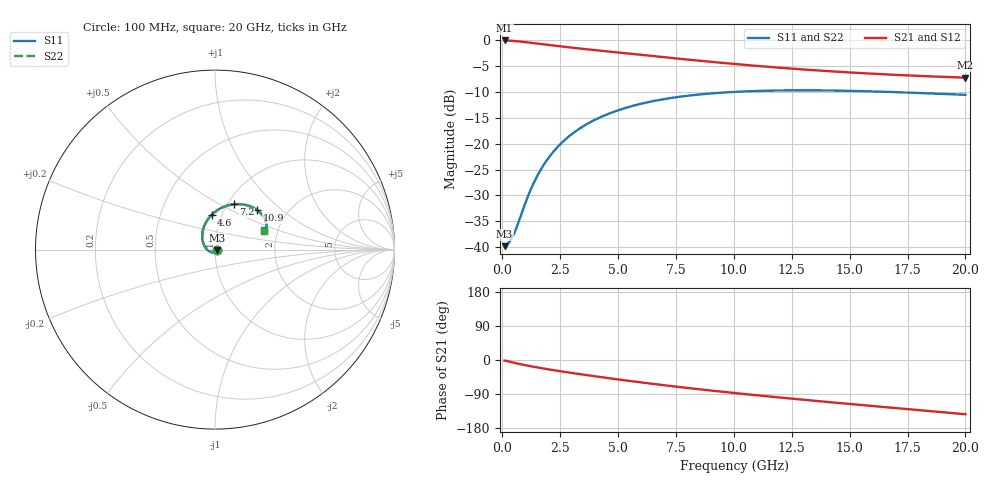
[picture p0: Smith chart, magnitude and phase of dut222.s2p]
! Touchstone file exported from HFSS 2023.1.0
!  File:  D:/Users/fzz/RDL_TSV/temp_RDL_TSV_222_1778757972.aedt
!  Generated:  7:33:48 %x4E0B%x5348  5%x6708 14, 2026
!  Design:  RDL_TSV
!  Project:  temp_RDL_TSV_222_1778757972
!  Setup:  Setup1
!  Solution:  Sweep
! Variables:
!  dtsv = 16.4um
!  hbump = 3um
!  htsv = 54.21um
!  ldown = 445.82um
!  lrdl = 161.44um
!  p = 40
!  p1 = 56.1um
!  rhole = 10um
!  subl = 1983.22um
!  t = 450um
!  tdown = 2.89um
!  trdl = 4.85um
!  viad = 10um
!  wdown = 21.42um
!  wrdl = 22.78um
!  xbump = 18um
# GHz S MA R 50.000000
! Terminal data exported
! Port[1] = TM1_1_T1
! Port[2] = TM1_4_T1
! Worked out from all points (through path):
!   200 points, 100 MHz to 20 GHz, reference 50 ohm
!   highest |S21| = -0.09 dB at 100 MHz (marker M1); lowest = -7.3 dB at 20 GHz (marker M2)
!   group delay of S21, straight-line fit = 18.7 ps
!   lowest |S11| = -39.8 dB at 100 MHz (marker M3), VSWR 1.02, Z = 51 - j0.287 ohm
!   |S11| at or under -10 dB: start of sweep to 10.12 GHz; 16.53 GHz to end of sweep
!   |S22| runs from -39.8 to -9.7 dB; largest |S21 - S12| = 1.3e-14
!   S11 on the Smith chart (normalised r, x): 100 MHz: 1.02, -0.01; 4.6 GHz: 0.89, +0.36; 7.2 GHz: 1.07, +0.58; 10.9 GHz: 1.40, +0.70; 20 GHz: 1.70, +0.40
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0.1  0.01024 -16.0  0.9893 -1.5  0.9893 -1.5  0.01024 -16.0
! Gamma 0 0 0 0
! Port Impedance 50 0 50 0
0.3  0.0112 -50.4  0.9851 -4.4  0.9851 -4.4  0.01121 -50.4
0.5  0.01339 -85.7  0.9781 -7.2  0.9781 -7.2  0.01339 -85.6
1  0.02683 -150.1  0.9532 -13.7  0.9532 -13.7  0.02682 -150.1
1.2  0.03478 -166.4  0.9415 -16.2  0.9415 -16.2  0.03475 -166.4
1.5  0.0483 174.8  0.9235 -19.5  0.9235 -19.5  0.04824 174.9
1.8  0.06294 160.5  0.9057 -22.7  0.9057 -22.7  0.06286 160.5
2.2  0.0832 145.5  0.8833 -26.7  0.8833 -26.7  0.08309 145.5
2.6  0.1035 133.6  0.8624 -30.5  0.8624 -30.5  0.1034 133.6
3  0.1234 123.7  0.8429 -34.2  0.8429 -34.2  0.1232 123.7
3.5  0.1473 113.3  0.82 -38.7  0.82 -38.7  0.147 113.3
4  0.1697 104.6  0.7982 -43.0  0.7982 -43.0  0.1694 104.5
4.6  0.1944 95.5  0.7732 -48.0  0.7732 -48.0  0.1941 95.5
5.6  0.2302 83.1  0.7334 -56.1  0.7334 -56.1  0.2298 83.0
6.8  0.2643 71.0  0.6885 -65.2  0.6885 -65.2  0.2638 71.0
7.2  0.2736 67.5  0.6744 -68.1  0.6744 -68.1  0.2731 67.5
8.6  0.2992 56.9  0.6281 -77.9  0.6281 -77.9  0.2986 56.9
10.1  0.3161 47.8  0.5848 -87.6  0.5848 -87.6  0.3155 47.8
10.9  0.3215 43.7  0.5645 -92.5  0.5645 -92.5  0.3209 43.6
13.4  0.3267 33.4  0.5119 -107.1  0.5119 -107.1  0.326 33.3
16.7  0.3154 24.8  0.4639 -125.3  0.4639 -125.3  0.3147 24.7
20  0.2956 21.2  0.4328 -143.1  0.4328 -143.1  0.2949 21.1
